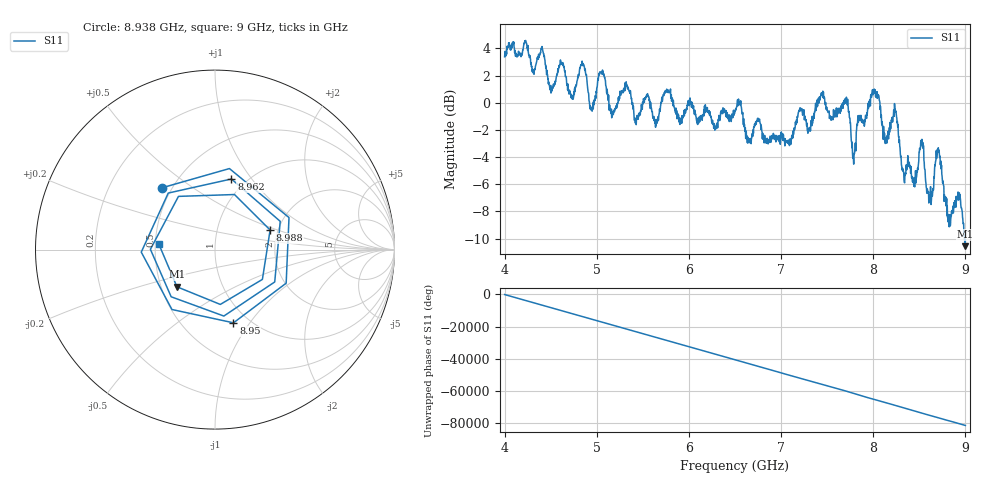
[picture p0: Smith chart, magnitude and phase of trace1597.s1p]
! Created with skrf 1.8.0 (http://scikit-rf.org).
# Hz S RI R 50.0
!freq ReS11 ImS11
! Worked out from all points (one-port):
!   1601 points, 4 GHz to 9 GHz, reference 50 ohm
!   lowest |S11| = -10.6 dB at 8.997 GHz (marker M1), VSWR 1.84, Z = 30.2 - j13.7 ohm
!   |S11| at or under -10 dB: 8.990064 GHz to end of sweep
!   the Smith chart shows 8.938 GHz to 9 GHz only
!   S11 on the Smith chart (normalised r, x): 8.938 GHz: 0.44, +0.38; 8.95 GHz: 0.85, -0.84; 8.962 GHz: 0.85, +0.80; 8.988 GHz: 1.82, +0.44; 9 GHz: 0.52, +0.03
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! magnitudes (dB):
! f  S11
! 4 GHz  3.4
! 4.406 GHz  4.1
! 4.509 GHz  1.0
! 4.625 GHz  2.8
! 4.731 GHz  0.3
! 4.85 GHz  2.9
! 4.941 GHz  -0.3
! 5.05 GHz  2.2
! 5.159 GHz  -0.5
! 5.25 GHz  0.5
! 5.875 GHz  -0.9
! 6.5 GHz  -0.6
! 7.125 GHz  -2.4
! 7.441 GHz  0.5
! 7.75 GHz  -1.5
! 7.788 GHz  -4.5
! 8.016 GHz  0.7
! 8.375 GHz  -3.9
! 8.522 GHz  -2.8
! 8.622 GHz  -6.2
! 8.709 GHz  -3.6
! 8.825 GHz  -9.1
! 8.938 GHz  -6.9
! 8.95 GHz  -7.5
! 8.962 GHz  -7.9
! 8.988 GHz  -9.7
! 8.997 GHz  -10.6
! 9 GHz  -10.1
